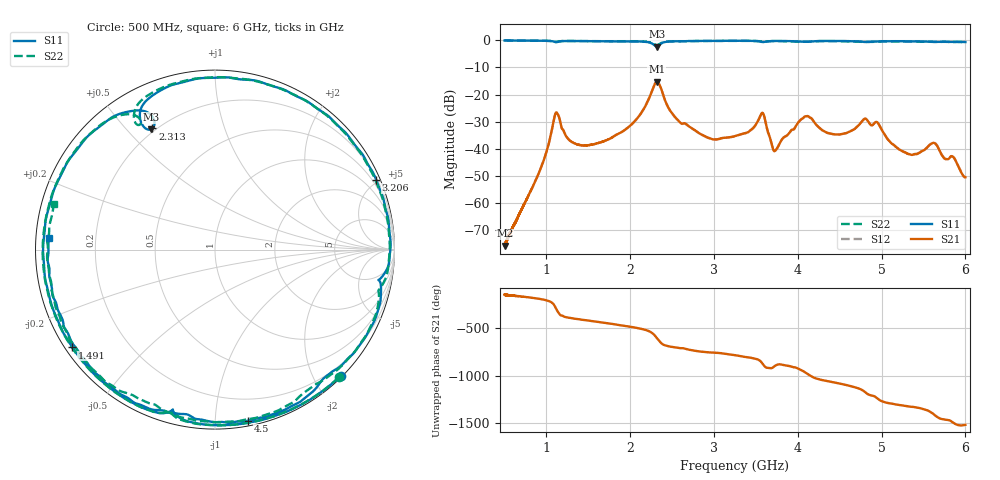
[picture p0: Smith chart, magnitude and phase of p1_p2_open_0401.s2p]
# Hz S DB R 50
! CMT, C2409, 19096212, 19.2.3/2
! Date: 4/1/2022 3:25:09 AM
! Data: Format (Calibration Info)
! Freq	S11:dB/Ang(F2)	S21:dB/Ang(F2)	S12:dB/Ang(F2)	S22:dB/Ang(F2)
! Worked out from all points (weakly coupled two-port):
!   5001 points, 500 MHz to 6 GHz, reference 50 ohm
!   highest |S21| = -15.24 dB at 2.316 GHz (marker M1); lowest = -75.7 dB at 504 MHz (marker M2)
!   lowest |S11| = -2.4 dB at 2.316 GHz (marker M3), VSWR 7.29, Z = 9.29 + j29.4 ohm
!   |S11| at or under -10 dB: nowhere
!   |S22| runs from -1.8 to -0.1 dB; largest |S21 - S12| = 0.001
!   S11 on the Smith chart (normalised r, x): 500 MHz: 0.03, -2.41; 1.491 GHz: 0.02, -0.31; 2.313 GHz: 0.19, +0.59; 3.206 GHz: 0.27, +4.81; 4.5 GHz: 0.04, -1.21; 6 GHz: 0.04, +0.04
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5e8  -0.07 -45.0  -75.30 -139.9  -75.34 -140.4  -0.08 -46.0
5.039917e8  -0.07 -45.4  -75.65 -144.0  -75.26 -144.6  -0.08 -46.3
9.450532e8  -0.18 -88.0  -46.01 169.2  -46.01 169.4  -0.18 -88.8
1.111268e9  -0.71 -104.7  -26.66 75.9  -26.66 75.9  -0.57 -105.4
1.416977e9  -0.31 -137.1  -38.64 -46.5  -38.66 -46.6  -0.29 -137.0
1.491399e9  -0.32 -145.6  -38.63 -55.2  -38.65 -55.4  -0.30 -145.1
2.003552e9  -0.42 152.9  -31.31 -122.3  -31.34 -122.4  -0.38 156.1
2.313009e9  -2.39 117.3  -15.27 122.6  -15.31 122.6  -1.79 120.8
2.31646e9  -2.40 117.8  -15.24 118.6  -15.29 118.5  -1.80 121.1
2.333793e9  -2.16 119.9  -15.61 98.6  -15.66 98.6  -1.65 122.1
2.595681e9  -0.35 87.4  -30.27 11.4  -30.33 11.4  -0.35 90.3
3.206135e9  -0.19 23.4  -35.56 -58.0  -35.65 -57.5  -0.22 23.4
3.251061e9  -0.19 19.0  -35.25 -63.4  -35.35 -62.8  -0.22 18.8
3.571233e9  -0.63 -10.3  -26.76 -143.9  -26.80 -143.4  -0.49 -13.1
3.736451e9  -0.25 -22.1  -40.45 -170.8  -40.39 -170.6  -0.29 -26.7
4.168149e9  -0.39 -54.0  -28.96 68.7  -28.97 69.5  -0.43 -61.6
4.499684e9  -0.26 -79.1  -34.68 -4.8  -34.69 -4.2  -0.33 -88.8
4.804768e9  -0.62 -100.3  -28.86 -96.8  -28.83 -96.4  -0.66 -111.6
5.084846e9  -0.32 -118.3  -36.91 147.9  -36.80 148.7  -0.40 -130.7
5.351911e9  -0.41 -137.2  -42.15 109.4  -42.08 110.3  -0.47 -150.3
5.627408e9  -0.59 -157.0  -37.79 25.9  -37.67 26.5  -0.62 -169.7
6e9  -0.65 175.6  -50.40 -82.1  -50.55 -82.2  -0.63 163.9
